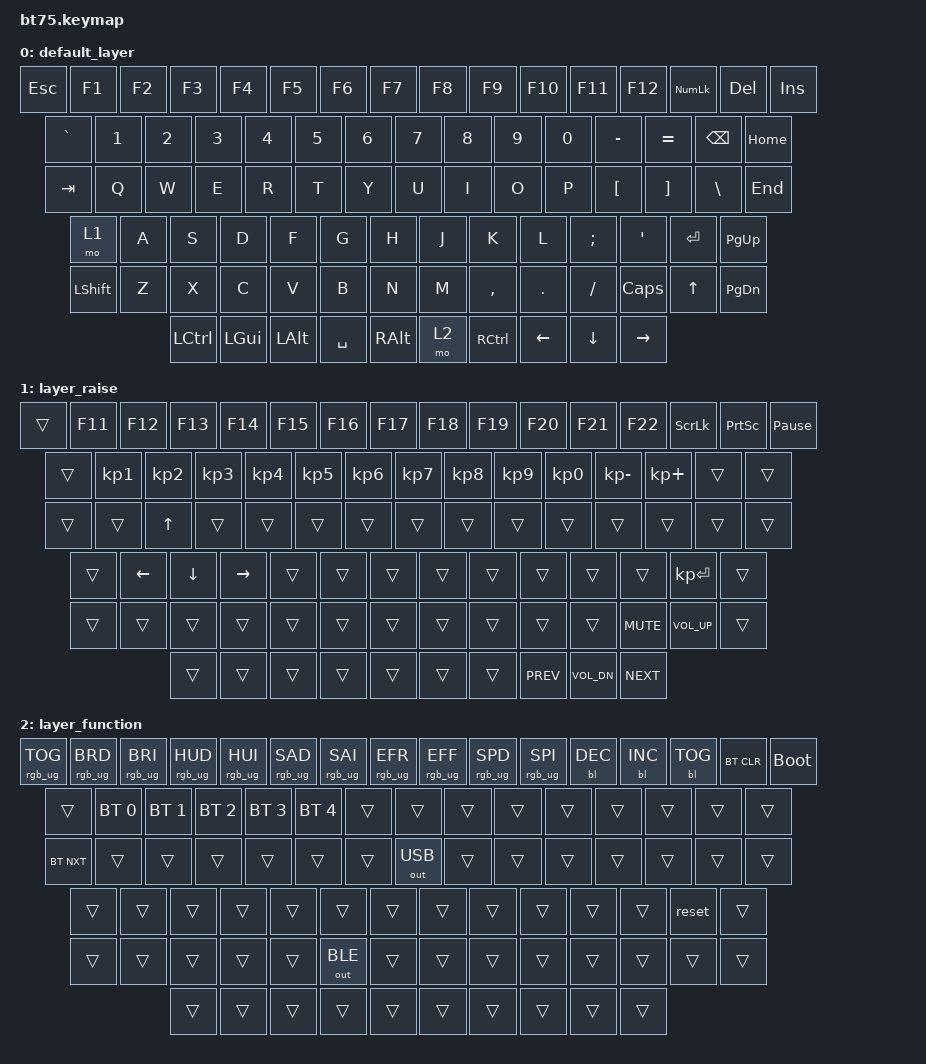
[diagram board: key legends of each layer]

/*
 * Copyright (c) 2020 The ZMK Contributors
 *
 * SPDX-License-Identifier: MIT
 */


/* THIS FILE WAS GENERATED!
 *
 * This file was generated automatically. You may or may not want to
 * edit it directly.
 */

#include <behaviors.dtsi>
#include <dt-bindings/zmk/keys.h>
#include <dt-bindings/zmk/rgb.h>
#include <dt-bindings/zmk/backlight.h>
#include <dt-bindings/zmk/bt.h>
#include <dt-bindings/zmk/outputs.h>

/ {
    keymap {
        compatible = "zmk,keymap";


        default_layer {
            bindings = <
   &kp ESC     &kp F1    &kp F2    &kp F3     &kp F4    &kp F5            &kp F6     &kp F7     &kp F8    &kp F9    &kp F10       &kp F11    &kp F12  &kp KP_NUMLOCK   &kp DEL  &kp INS
 &kp GRAVE     &kp N1    &kp N2    &kp N3     &kp N4    &kp N5            &kp N6     &kp N7     &kp N8    &kp N9     &kp N0     &kp MINUS  &kp EQUAL        &kp BSPC  &kp HOME
   &kp TAB      &kp Q     &kp W     &kp E      &kp R     &kp T             &kp Y      &kp U      &kp I     &kp O      &kp P      &kp LBKT   &kp RBKT        &kp BSLH   &kp END
     &mo 1      &kp A     &kp S     &kp D      &kp F     &kp G             &kp H      &kp J      &kp K     &kp L   &kp SEMI       &kp SQT    &kp RET       &kp PG_UP
 &kp LSHFT      &kp Z     &kp X     &kp C      &kp V     &kp B             &kp N      &kp M  &kp COMMA   &kp DOT   &kp FSLH  &kp CAPSLOCK     &kp UP       &kp PG_DN
            &kp LCTRL  &kp LGUI  &kp LALT  &kp SPACE  &kp RALT             &mo 2  &kp RCTRL   &kp LEFT  &kp DOWN  &kp RIGHT
            >;
        };

        layer_raise {
            bindings = <
 &trans          &kp F11    &kp F12    &kp F13    &kp F14    &kp F15              &kp F16    &kp F17     &kp F18       &kp F19     &kp F20       &kp F21       &kp F22  &kp SLCK  &kp PSCRN  &kp PAUSE_BREAK
 &trans  &kp KP_NUMBER_1  &kp KP_N2  &kp KP_N3  &kp KP_N4  &kp KP_N5            &kp KP_N6  &kp KP_N7   &kp KP_N8     &kp KP_N9   &kp KP_N0  &kp KP_MINUS   &kp KP_PLUS    &trans     &trans
 &trans           &trans     &kp UP     &trans     &trans     &trans               &trans     &trans      &trans        &trans      &trans        &trans        &trans    &trans     &trans
 &trans         &kp LEFT   &kp DOWN  &kp RIGHT     &trans     &trans               &trans     &trans      &trans        &trans      &trans        &trans  &kp KP_ENTER    &trans
 &trans           &trans     &trans     &trans     &trans     &trans               &trans     &trans      &trans        &trans      &trans    &kp C_MUTE  &kp C_VOL_UP    &trans
                  &trans     &trans     &trans     &trans     &trans               &trans     &trans  &kp C_PREV  &kp C_VOL_DN  &kp C_NEXT
            >;
        };

        layer_function {
            bindings = <
 &rgb_ug RGB_TOG  &rgb_ug RGB_BRD  &rgb_ug RGB_BRI  &rgb_ug RGB_HUD  &rgb_ug RGB_HUI  &rgb_ug RGB_SAD            &rgb_ug RGB_SAI  &rgb_ug RGB_EFR  &rgb_ug RGB_EFF  &rgb_ug RGB_SPD  &rgb_ug RGB_SPI  &bl BL_DEC  &bl BL_INC  &bl BL_TOG  &bt BT_CLR  &bootloader
          &trans     &bt BT_SEL 0     &bt BT_SEL 1     &bt BT_SEL 2     &bt BT_SEL 3     &bt BT_SEL 4                     &trans           &trans           &trans           &trans           &trans      &trans      &trans      &trans      &trans
      &bt BT_NXT           &trans           &trans           &trans           &trans           &trans                     &trans     &out OUT_USB           &trans           &trans           &trans      &trans      &trans      &trans      &trans
          &trans           &trans           &trans           &trans           &trans           &trans                     &trans           &trans           &trans           &trans           &trans      &trans      &reset      &trans
          &trans           &trans           &trans           &trans           &trans     &out OUT_BLE                     &trans           &trans           &trans           &trans           &trans      &trans      &trans      &trans
                           &trans           &trans           &trans           &trans           &trans                     &trans           &trans           &trans           &trans           &trans
            >;
        };

    };
};
